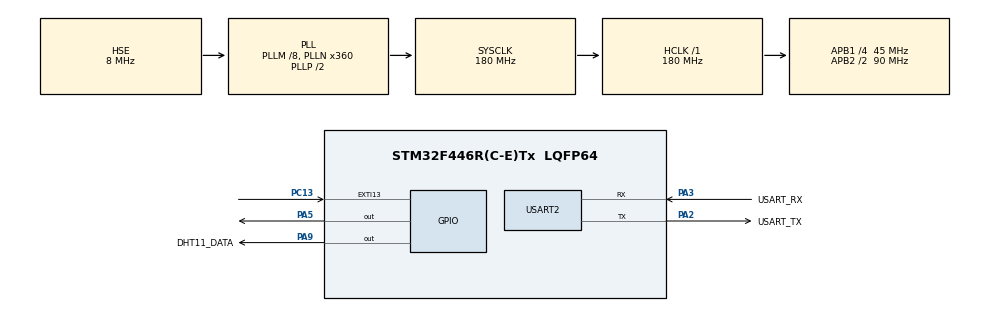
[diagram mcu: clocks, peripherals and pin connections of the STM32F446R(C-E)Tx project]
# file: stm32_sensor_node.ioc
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Mcu.Family=STM32F4
Mcu.Name=STM32F446R(C-E)Tx
Mcu.Package=LQFP64
NUCLEO-F446RE.BUTTON=1
NUCLEO-F446RE.LD1=true
NVIC.EXTI15_10_IRQn=true\:0\:0\:false\:false\:true\:false\:true\:true
NVIC.PriorityGroup=NVIC_PRIORITYGROUP_0
PA13.GPIO_Label=TMS
PA13.Mode=Serial_Wire
PA13.Signal=SYS_JTMS-SWDIO
PA14.GPIO_Label=TCK
PA14.Mode=Serial_Wire
PA14.Signal=SYS_JTCK-SWCLK
PA2.GPIO_Label=USART_TX
PA2.Mode=Asynchronous
PA2.Signal=USART2_TX
PA3.GPIO_Label=USART_RX
PA3.Mode=Asynchronous
PA3.Signal=USART2_RX
PA5.Signal=GPIO_Output
PA9.GPIO_Label=DHT11_DATA
PA9.GPIO_ModeDefaultOutputPP=GPIO_MODE_OUTPUT_OD
PA9.GPIO_PuPd=GPIO_NOPULL
PA9.PinState=GPIO_PIN_SET
PA9.Signal=GPIO_Output
PB3.GPIO_Label=SWO
PB3.Signal=SYS_JTDO-SWO
PC13.Signal=GPXTI13
PC14-OSC32_IN.Signal=RCC_OSC32_IN
PC15-OSC32_OUT.Signal=RCC_OSC32_OUT
PH0-OSC_IN.Mode=HSE-External-Clock-Source
PH0-OSC_IN.Signal=RCC_OSC_IN
PH1-OSC_OUT.Mode=HSE-External-Clock-Source
PH1-OSC_OUT.Signal=RCC_OSC_OUT
ProjectManager.HeapSize=0x200
ProjectManager.StackSize=0x400
ProjectManager.TargetToolchain=STM32CubeIDE
RCC.AHBFreq_Value=180000000
RCC.APB1CLKDivider=RCC_HCLK_DIV4
RCC.APB1Freq_Value=45000000
RCC.APB1TimFreq_Value=90000000
RCC.APB2CLKDivider=RCC_HCLK_DIV2
RCC.APB2Freq_Value=90000000
RCC.APB2TimFreq_Value=180000000
RCC.CortexFreq_Value=180000000
RCC.FLatency-AdvancedSettings=FLASH_LATENCY_5
RCC.HCLKFreq_Value=180000000
RCC.HSE_VALUE=8000000
RCC.HSI_VALUE=16000000
RCC.LSE_VALUE=32768
RCC.PLLM=8
RCC.PLLN=360
RCC.PLLSourceVirtual=RCC_PLLSOURCE_HSE
RCC.SYSCLKFreq_VALUE=180000000
RCC.SYSCLKSource=RCC_SYSCLKSOURCE_PLLCLK
RCC.USBFreq_Value=180000000
RCC.VCOOutputFreq_Value=360000000
TIM6.Prescaler=89
USART2.VirtualMode=VM_ASYNC
VP_NUCLEO-F446RE_VS_BSP_COMMON.Mode=COMMON
VP_TIM6_VS_ClockSourceINT.Mode=Enable_Timer
board=NUCLEO-F446RE

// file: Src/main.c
/* USER CODE BEGIN Header */
/**
  ******************************************************************************
  * @file           : main.c
  * @brief          : Main program body
  ******************************************************************************
  * @attention
  *
  * Copyright (c) 2026 STMicroelectronics.
  * All rights reserved.
  *
  * This software is licensed under terms that can be found in the LICENSE file
  * in the root directory of this software component.
  * If no LICENSE file comes with this software, it is provided AS-IS.
  *
  ******************************************************************************
  */
/* USER CODE END Header */
#include "main.h"
#include "tim.h"
#include "usart.h"
#include "gpio.h"

/* USER CODE BEGIN Includes */
#include <stdio.h>
/* USER CODE END Includes */

/* USER CODE BEGIN PD */
#define HEARTBEAT_INTERVAL_MS 500U
#define BUTTON_DEBOUNCE_MS 50U
#define TELEMETRY_INTERVAL_MS 1000U
#define TELEMETRY_BUFFER_SIZE 96U
/* USER CODE END PD */

/* USER CODE BEGIN PV */
static uint32_t last_heartbeat_ms = 0U;
static volatile uint32_t button_press_count = 0U;
static uint32_t last_button_event_ms = 0U;
static uint32_t last_telemetry_ms = 0U;
static uint32_t telemetry_counter = 0U;
static char telemetry_buffer[TELEMETRY_BUFFER_SIZE];
/* USER CODE END PV */

void SystemClock_Config(void);

int main(void)
{

  /* MCU Configuration--------------------------------------------------------*/

  /* Reset of all peripherals, Initializes the Flash interface and the Systick. */
  HAL_Init();

  /* Configure the system clock */
  SystemClock_Config();

  /* Initialize all configured peripherals */
  MX_GPIO_Init();
  MX_USART2_UART_Init();
  MX_TIM6_Init();

  /* Initialize leds */
  BSP_LED_Init(LED2);

  /* Initialize USER push-button, will be used to trigger an interrupt each time it's pressed.*/
  BSP_PB_Init(BUTTON_USER, BUTTON_MODE_EXTI);

  /* Infinite loop */
  while (1)
	{

    /* USER CODE BEGIN 3 */
	  const uint32_t now_ms = HAL_GetTick();

	  if ((uint32_t)(now_ms - last_heartbeat_ms) >= HEARTBEAT_INTERVAL_MS)
	  {
		last_heartbeat_ms = now_ms;
		BSP_LED_Toggle(LED2);
	  }
	  if ((uint32_t)(now_ms - last_telemetry_ms) >= TELEMETRY_INTERVAL_MS)
	  {
		  int message_length;

		  last_telemetry_ms = now_ms;

		  message_length = snprintf(
				  telemetry_buffer,
				  sizeof(telemetry_buffer),
				  "counter=%lu button_presses=%lu uptime_ms=%lu\r\n",
				  (unsigned long)telemetry_counter,
				  (unsigned long)button_press_count,
				  (unsigned long)now_ms);

		  if ((message_length > 0) &&
				  (message_length < (int)sizeof(telemetry_buffer)))
		  {
			  HAL_UART_Transmit(
					  &huart2,
					  (uint8_t *)telemetry_buffer,
					  (uint16_t)message_length,
					  100U);
		  }

		  telemetry_counter++;
	  }
	}
  /* USER CODE END 3 */
}

void SystemClock_Config(void)
{
  RCC_OscInitTypeDef RCC_OscInitStruct = {0};
  RCC_ClkInitTypeDef RCC_ClkInitStruct = {0};

  /** Configure the main internal regulator output voltage
  */
  __HAL_RCC_PWR_CLK_ENABLE();
  __HAL_PWR_VOLTAGESCALING_CONFIG(PWR_REGULATOR_VOLTAGE_SCALE1);

  /** Initializes the RCC Oscillators according to the specified parameters
  * in the RCC_OscInitTypeDef structure.
  */
  RCC_OscInitStruct.OscillatorType = RCC_OSCILLATORTYPE_HSE;
  RCC_OscInitStruct.HSEState = RCC_HSE_BYPASS;
  RCC_OscInitStruct.PLL.PLLState = RCC_PLL_ON;
  RCC_OscInitStruct.PLL.PLLSource = RCC_PLLSOURCE_HSE;
  RCC_OscInitStruct.PLL.PLLM = 8;
  RCC_OscInitStruct.PLL.PLLN = 360;
  RCC_OscInitStruct.PLL.PLLP = RCC_PLLP_DIV2;
  RCC_OscInitStruct.PLL.PLLQ = 2;
  RCC_OscInitStruct.PLL.PLLR = 2;
  if (HAL_RCC_OscConfig(&RCC_OscInitStruct) != HAL_OK)
  {
    Error_Handler();
  }

  /** Activate the Over-Drive mode
  */
  if (HAL_PWREx_EnableOverDrive() != HAL_OK)
  {
    Error_Handler();
  }

  /** Initializes the CPU, AHB and APB buses clocks
  */
  RCC_ClkInitStruct.ClockType = RCC_CLOCKTYPE_HCLK|RCC_CLOCKTYPE_SYSCLK
                              |RCC_CLOCKTYPE_PCLK1|RCC_CLOCKTYPE_PCLK2;
  RCC_ClkInitStruct.SYSCLKSource = RCC_SYSCLKSOURCE_PLLCLK;
  RCC_ClkInitStruct.AHBCLKDivider = RCC_SYSCLK_DIV1;
  RCC_ClkInitStruct.APB1CLKDivider = RCC_HCLK_DIV4;
  RCC_ClkInitStruct.APB2CLKDivider = RCC_HCLK_DIV2;

  if (HAL_RCC_ClockConfig(&RCC_ClkInitStruct, FLASH_LATENCY_5) != HAL_OK)
  {
    Error_Handler();
  }
}

/* USER CODE BEGIN 4 */
void HAL_GPIO_EXTI_Callback(uint16_t GPIO_Pin)
{
	uint32_t now_ms;

	if (GPIO_Pin != USER_BUTTON_PIN)
		return;

	now_ms = HAL_GetTick();

	if ((uint32_t)(now_ms - last_button_event_ms) < BUTTON_DEBOUNCE_MS)
		return;

	last_button_event_ms = now_ms;
	button_press_count++;
}
/* USER CODE END 4 */

void Error_Handler(void)
{
  __disable_irq();
  while (1)
  {
  }
}
